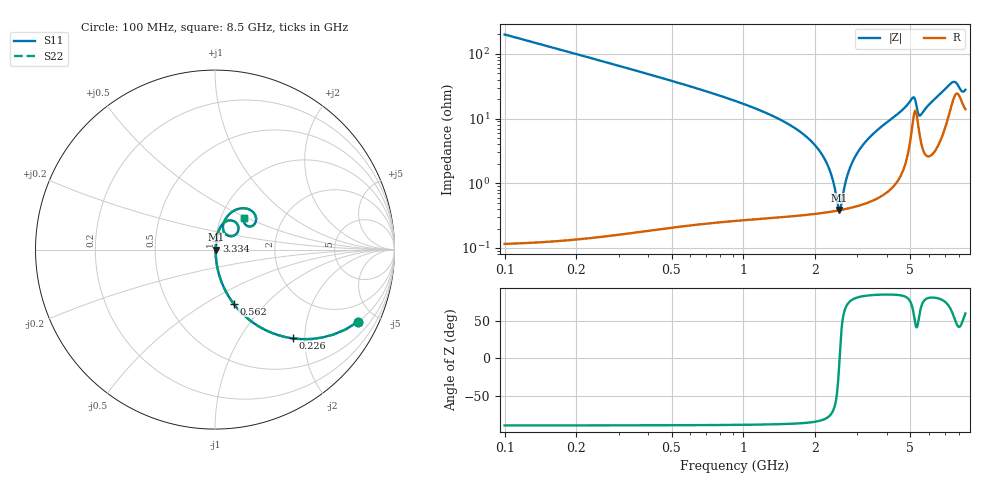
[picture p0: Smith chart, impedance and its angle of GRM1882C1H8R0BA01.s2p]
!Murata Part Number: GRM1882C1H8R0BA01
!These Parameters are Measured in Series Mode Connection
!Data Generated on Mar 30, 2021
!  o--ll--o
!Port1  Port2
!  o------o
!Operation Temp=25[degC], DC Bias Voltage=0[V]
!Freq. Start=100[MHz] Stop=9[GHz] 401[Steps]
# Hz S RI R 50
!Freq.(Hz) S11(Real) S11(Imag) S21(Real) S21(Imag) S12(Real) S12(Imag) S22(Real) S22(Imag)
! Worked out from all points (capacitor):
!   401 points, 100 MHz to 8.5 GHz, reference 50 ohm
!   read as one part in series: C = 8 pF near 142 MHz
!   lowest |Z| = 389 mohm at 2.515 GHz (marker M1)
!   series resonance near 2.526 GHz, so ESL is about 500 pH
!   S11 on the Smith chart (normalised r, x): 100 MHz: 1.00, -3.97; 226 MHz: 1.00, -1.75; 562 MHz: 1.00, -0.67; 3.334 GHz: 1.01, +0.10; 8.5 GHz: 1.28, +0.48
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1e8  0.7976 -0.4015  0.2024 0.4015  0.2024 0.4015  0.7976 -0.4015
2.26e8  0.4325 -0.4946  0.5675 0.4946  0.5675 0.4946  0.4325 -0.4946
3.73e8  0.2145 -0.4088  0.7855 0.4088  0.7855 0.4088  0.2145 -0.4088
5.62e8  0.1032 -0.301  0.8968 0.301  0.8968 0.301  0.1032 -0.301
1.507e9  0.0103 -0.0849  0.9897 0.0849  0.9897 0.0849  0.0103 -0.0849
1.906e9  0.00537 -0.0456  0.9946 0.0456  0.9946 0.0456  0.00537 -0.0456
2.179e9  0.00407 -0.0239  0.9959 0.0239  0.9959 0.0239  0.00407 -0.0239
2.347e9  0.00378 -0.0119  0.9962 0.0119  0.9962 0.0119  0.00378 -0.0119
2.515e9  0.0038 -0.000715  0.9962 0.000715  0.9962 0.000715  0.0038 -0.000715
2.557e9  0.00385 0.002  0.9961 -0.002  0.9961 -0.002  0.00385 0.002
2.725e9  0.0042 0.0125  0.9958 -0.0125  0.9958 -0.0125  0.0042 0.0125
2.914e9  0.00486 0.0239  0.9951 -0.0239  0.9951 -0.0239  0.00486 0.0239
3.334e9  0.00734 0.0479  0.9927 -0.0479  0.9927 -0.0479  0.00734 0.0479
4.3e9  0.0205 0.1046  0.9795 -0.1046  0.9795 -0.1046  0.0205 0.1046
5.119e9  0.1076 0.1569  0.8924 -0.1569  0.8924 -0.1569  0.1076 0.1569
5.224e9  0.1312 0.1171  0.8688 -0.1171  0.8688 -0.1171  0.1312 0.1171
5.434e9  0.068 0.0799  0.932 -0.0799  0.932 -0.0799  0.068 0.0799
5.707e9  0.0442 0.1204  0.9558 -0.1204  0.9558 -0.1204  0.0442 0.1204
7.114e9  0.143 0.2298  0.857 -0.2298  0.857 -0.2298  0.143 0.2298
7.723e9  0.229 0.1736  0.771 -0.1736  0.771 -0.1736  0.229 0.1736
8.185e9  0.1783 0.1327  0.8217 -0.1327  0.8217 -0.1327  0.1783 0.1327
8.5e9  0.1595 0.1772  0.8405 -0.1772  0.8405 -0.1772  0.1595 0.1772
